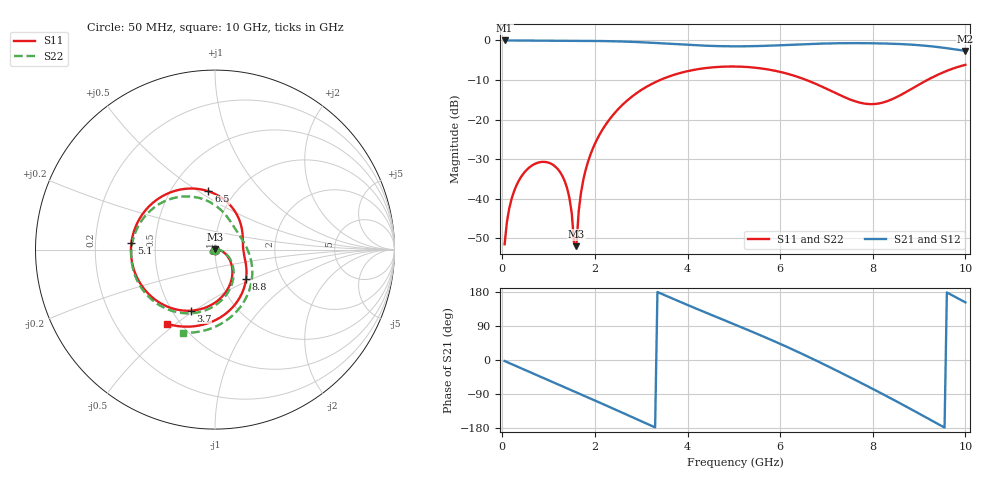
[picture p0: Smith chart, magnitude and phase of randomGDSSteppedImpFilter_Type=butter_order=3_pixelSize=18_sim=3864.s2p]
! freq	dB(S11)	phase(S11)	dB(S12)	phase(S12)
!  dB(S21)	phase(S21)	dB(S22)	phase(S22)
!S-par simulation data
#  GHz  S  DB  R 50
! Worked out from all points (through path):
!   200 points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, 50 MHz to 10 GHz, reference 50 ohm
!   highest |S21| = 0.00 dB at 50 MHz (marker M1); lowest = -2.6 dB at 10 GHz (marker M2)
!   group delay of S21, straight-line fit = 155 ps
!   lowest |S11| = -52.0 dB at 1.6 GHz (marker M3), VSWR 1.01, Z = 50.2 + j0.171 ohm
!   |S11| at or under -10 dB: start of sweep to 3.406 GHz; 6.566 GHz to 9.177 GHz (2.61 GHz wide, 33.2 % of centre)
!   |S22| runs from -52.2 to -6.1 dB; largest |S21 - S12| = 0
!   S11 on the Smith chart (normalised r, x): 50 MHz: 1.00, -0.01; 3.7 GHz: 0.62, -0.48; 5.1 GHz: 0.36, +0.04; 6.5 GHz: 0.76, +0.55; 8.8 GHz: 1.33, -0.46; 10 GHz: 0.43, -0.47
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0.05  -51.51 -85.2  -0.00 -2.7  -0.00 -2.7  -51.50 -85.2
0.15  -42.45 -95.6  -0.01 -8.0  -0.01 -8.0  -42.45 -95.4
0.3  -36.78 -105.5  -0.02 -16.0  -0.02 -16.0  -36.78 -105.2
0.9  -30.68 -140.0  -0.06 -47.8  -0.06 -47.8  -30.69 -138.9
1.35  -35.61 -166.9  -0.08 -71.7  -0.08 -71.7  -35.65 -164.8
1.55  -51.22 153.3  -0.09 -82.4  -0.09 -82.4  -51.88 158.3
1.6  -51.98 42.5  -0.09 -85.1  -0.09 -85.1  -52.19 37.5
1.65  -43.19 12.2  -0.10 -87.8  -0.10 -87.8  -43.11 11.7
1.75  -35.20 -0.1  -0.10 -93.2  -0.10 -93.2  -35.15 0.9
2.3  -20.17 -34.2  -0.18 -123.1  -0.18 -123.1  -20.15 -31.7
3.4  -10.03 -95.6  -0.70 176.8  -0.70 176.8  -10.02 -91.2
3.7  -8.71 -111.8  -0.91 160.8  -0.91 160.8  -8.70 -106.8
5.05  -6.59 178.0  -1.49 92.1  -1.49 92.1  -6.58 -172.8
5.1  -6.61 175.4  -1.49 89.6  -1.49 89.6  -6.59 -175.1
5.8  -7.46 137.6  -1.31 53.4  -1.31 53.4  -7.44 150.9
6.5  -9.71 96.4  -0.97 14.7  -0.97 14.7  -9.68 115.6
6.7  -10.63 83.9  -0.87 3.1  -0.87 3.1  -10.60 105.3
7.4  -14.39 38.7  -0.69 -39.0  -0.69 -39.0  -14.33 68.4
8.35  -15.18 -16.9  -0.81 -98.6  -0.81 -98.6  -15.19 5.6
8.8  -12.49 -43.1  -1.04 -128.1  -1.04 -128.1  -12.52 -28.7
9.4  -8.69 -82.2  -1.66 -168.3  -1.66 -168.3  -8.67 -71.8
10  -6.16 -122.8  -2.64 152.1  -2.64 152.1  -6.09 -111.2
